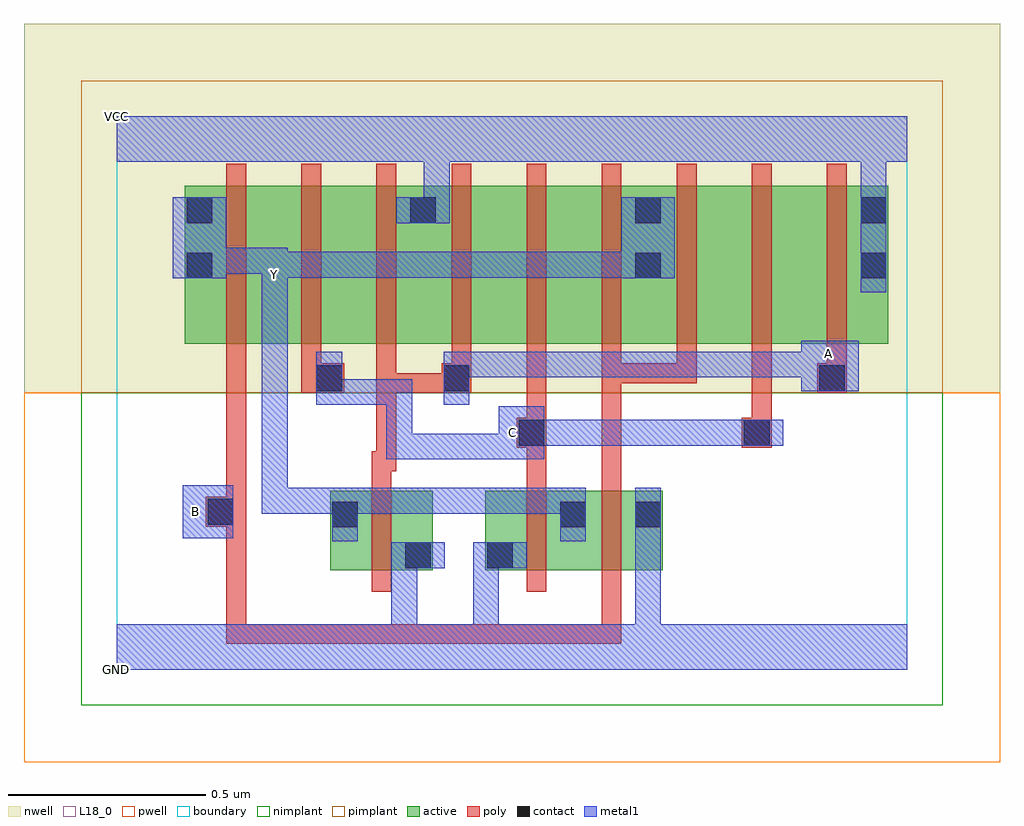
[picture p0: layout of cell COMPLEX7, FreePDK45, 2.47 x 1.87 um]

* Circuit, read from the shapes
.subckt COMPLEX7 A B C GND VCC Y
M1 GND A Y VSUBS nfet w=0.2u l=0.05u
M2 Y C GND VSUBS nfet w=0.2u l=0.05u
M3 GND B Y VSUBS nfet w=0.2u l=0.05u
M4 n1 B Y n2 pfet w=0.4u l=0.05u
M5 n3 C n1 n2 pfet w=0.4u l=0.05u
M6 VCC A n3 n2 pfet w=0.4u l=0.05u
M7 n4 A VCC n2 pfet w=0.4u l=0.05u
M8 n5 C n4 n2 pfet w=0.4u l=0.05u
M9 Y B n5 n2 pfet w=0.4u l=0.05u
M10 n6 B Y n2 pfet w=0.4u l=0.05u
M11 n7 C n6 n2 pfet w=0.4u l=0.05u
M12 VCC A n7 n2 pfet w=0.4u l=0.05u
.ends

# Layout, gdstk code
import gdstk
lib = gdstk.Library(unit=1e-6, precision=1e-09)
def R(c, l, rs):  # rectangles x0, y0, x1, y1
    for r in rs: c.add(gdstk.rectangle(r[:2], r[2:], *l))
def A(c, l, x, y, w, h, nx, ny, dx, dy):  # array of equal rectangles
    R(c, l, [(x+i*dx, y+j*dy, x+i*dx+w, y+j*dy+h) for i in range(nx) for j in range(ny)])
active = (1, 0)
pwell = (2, 0)
nwell = (3, 0)
nimplant = (4, 0)
pimplant = (5, 0)
poly = (9, 0)
contact = (10, 0)
metal1 = (11, 0)
L18_0 = (18, 0)
boundary = (235, 0)

complex7 = lib.new_cell('COMPLEX7')
A(complex7, active, 0.397, 0.825, 0.19, 0.4, 3, 1, 0.57, 0)
A(complex7, active, 0.587, 0.825, 0.225, 0.4, 3, 1, 0.57, 0)
R(complex7, active, [(0.54,0.252,0.8,0.452), (0.54,0.252,0.615,0.452), (0.725,0.252,0.8,0.452), (0.932,0.252,1.192,0.452), (0.932,0.252,1.007,0.417), (1.117,0.252,1.382,0.452), (1.117,0.252,1.192,0.43), (1.307,0.355,1.382,0.452), (0.172,0.825,0.397,1.225), (0.172,0.825,0.247,1.2), (0.737,0.825,0.967,1.225), (1.307,0.825,1.537,1.225), (1.877,0.825,1.952,1.225), (0.737,0.907,0.812,1.225), (1.307,0.907,1.382,1.2)])
R(complex7, pwell, [(-0.235,-0.235,2.235,0.7)])
R(complex7, nwell, [(-0.235,0.7,2.235,1.635)])
R(complex7, nimplant, [(-0.09,-0.09,2.09,0.7)])
R(complex7, pimplant, [(-0.09,0.7,2.09,1.49)])
A(complex7, poly, 0.467, 0.725, 0.05, 0.095, 3, 1, 0.38, 0)
A(complex7, poly, 0.277, 0.77, 0.05, 0.51, 9, 1, 0.19, 0)
R(complex7, poly, [(0.277,0.065,0.327,0.115), (0.277,0.065,0.327,0.115), (0.277,0.065,0.327,0.115), (0.277,0.065,0.327,0.115), (0.277,0.065,0.327,0.115), (0.277,0.065,0.327,0.115), (0.277,0.065,0.327,0.115), (0.277,0.065,0.327,0.115), (0.277,0.065,0.327,0.115), (0.277,0.065,0.46,0.115), (0.277,0.065,0.327,0.412), (0.41,0.065,0.46,0.115), (0.41,0.065,0.46,0.115), (0.41,0.065,0.46,0.115), (0.41,0.065,0.74,0.115), (0.69,0.065,0.74,0.115), (0.69,0.065,0.74,0.115), (0.69,0.065,0.74,0.115), (0.69,0.065,0.93,0.115), (0.88,0.065,0.93,0.115), (0.88,0.065,0.93,0.115), (0.88,0.065,0.93,0.115), (0.88,0.065,1.145,0.115), (1.095,0.065,1.145,0.115), (1.095,0.065,1.277,0.115), (1.227,0.065,1.277,0.115), (1.227,0.065,1.277,0.115), (1.227,0.065,1.277,0.115), (1.227,0.065,1.277,0.247), (0.645,0.197,0.695,0.507), (1.037,0.197,1.087,0.507), (1.227,0.197,1.277,0.507), (0.225,0.362,0.327,0.437), (0.277,0.387,0.327,0.82), (0.645,0.457,0.695,0.552), (1.037,0.457,1.087,0.612), (1.227,0.457,1.277,0.775), (0.645,0.502,0.707,0.552), (0.657,0.502,0.707,0.75), (1.012,0.562,1.087,0.637), (1.582,0.562,1.657,0.637), (1.037,0.587,1.087,0.82), (1.037,0.587,1.087,0.637), (1.037,0.587,1.087,0.637), (1.607,0.587,1.657,0.82), (1.607,0.587,1.657,0.637), (1.607,0.587,1.657,0.637), (0.467,0.7,0.575,0.775), (0.657,0.7,0.707,0.75), (0.657,0.7,0.707,0.75), (0.657,0.7,0.707,0.75), (0.657,0.7,0.872,0.75), (0.657,0.7,0.707,0.82), (0.822,0.7,0.897,0.775), (1.772,0.7,1.847,0.775), (1.227,0.725,1.277,0.775), (1.227,0.725,1.277,0.775), (1.227,0.725,1.277,0.775), (1.227,0.725,1.467,0.775), (1.417,0.725,1.467,0.82), (1.417,0.725,1.467,0.775), (1.417,0.725,1.467,0.775), (1.417,0.725,1.467,0.775), (1.797,0.725,1.847,0.82)])
A(complex7, contact, 0.742, 1.13, 0.065, 0.065, 3, 1, 0.57, 0)
R(complex7, contact, [(0.73,0.257,0.795,0.322), (0.937,0.257,1.002,0.322), (0.545,0.36,0.61,0.425), (1.122,0.36,1.187,0.425), (1.312,0.36,1.377,0.425), (0.23,0.367,0.295,0.432), (1.017,0.567,1.082,0.632), (1.587,0.567,1.652,0.632), (0.505,0.705,0.57,0.77), (0.827,0.705,0.892,0.77), (1.777,0.705,1.842,0.77), (0.177,0.99,0.242,1.055), (1.312,0.99,1.377,1.055), (1.882,0.99,1.947,1.055), (0.177,1.13,0.242,1.195)])
R(complex7, metal1, [(0,0,2,0.115), (0.695,0.05,0.76,0.322), (0.902,0.05,0.967,0.115), (0.902,0.05,0.967,0.115), (0.902,0.05,0.967,0.115), (0.902,0.05,0.967,0.115), (0.902,0.05,0.967,0.322), (1.312,0.05,1.377,0.39), (0.695,0.257,0.76,0.322), (0.695,0.257,0.76,0.322), (0.695,0.257,0.76,0.322), (0.695,0.257,0.76,0.322), (0.695,0.257,0.83,0.322), (0.902,0.257,1.037,0.322), (0.545,0.325,0.61,0.46), (1.122,0.325,1.187,0.46), (1.312,0.325,1.377,0.39), (1.312,0.325,1.377,0.39), (1.312,0.325,1.377,0.39), (1.312,0.325,1.377,0.39), (1.312,0.325,1.377,0.46), (0.167,0.332,0.295,0.467), (0.367,0.395,0.432,0.46), (0.367,0.395,0.432,0.46), (0.367,0.395,0.432,0.46), (0.367,0.395,0.61,0.46), (0.367,0.395,0.432,0.997), (0.545,0.395,0.61,0.46), (0.545,0.395,0.61,0.46), (0.545,0.395,0.747,0.46), (0.682,0.395,0.747,0.46), (0.682,0.395,0.747,0.46), (0.682,0.395,0.747,0.46), (0.682,0.395,0.895,0.46), (0.83,0.395,0.895,0.46), (0.83,0.395,0.895,0.46), (0.83,0.395,0.895,0.46), (0.83,0.395,1.187,0.46), (1.122,0.395,1.187,0.46), (1.122,0.395,1.187,0.46), (0.682,0.532,0.747,0.597), (0.682,0.532,0.895,0.597), (0.682,0.532,0.747,0.735), (0.83,0.532,0.895,0.597), (0.83,0.532,0.895,0.597), (0.83,0.532,0.895,0.597), (0.83,0.532,1.032,0.597), (0.967,0.532,1.082,0.667), (1.017,0.567,1.082,0.632), (1.017,0.567,1.082,0.632), (1.017,0.567,1.342,0.632), (1.277,0.567,1.342,0.632), (1.277,0.567,1.342,0.632), (1.277,0.567,1.342,0.632), (1.277,0.567,1.48,0.632), (1.415,0.567,1.48,0.632), (1.415,0.567,1.48,0.632), (1.415,0.567,1.48,0.632), (1.415,0.567,1.617,0.632), (1.552,0.567,1.687,0.632), (0.505,0.67,0.57,0.735), (0.505,0.67,0.57,0.735), (0.505,0.67,0.57,0.805), (0.505,0.67,0.747,0.735), (0.682,0.67,0.747,0.735), (0.682,0.67,0.747,0.735), (0.682,0.67,0.747,0.735), (0.827,0.67,0.892,0.805), (1.732,0.705,1.877,0.832), (0.827,0.74,0.892,0.805), (0.827,0.74,0.892,0.805), (0.827,0.74,1.205,0.805), (1.14,0.74,1.205,0.805), (1.14,0.74,1.205,0.805), (1.14,0.74,1.205,0.805), (1.14,0.74,1.342,0.805), (1.277,0.74,1.342,0.805), (1.277,0.74,1.342,0.805), (1.277,0.74,1.342,0.805), (1.277,0.74,1.48,0.805), (1.415,0.74,1.48,0.805), (1.415,0.74,1.66,0.805), (1.595,0.74,1.66,0.805), (1.595,0.74,1.66,0.805), (1.595,0.74,1.66,0.805), (1.595,0.74,1.797,0.805), (1.732,0.74,1.797,0.805), (1.732,0.74,1.797,0.805), (0.367,0.932,0.432,1.067), (1.882,0.955,1.947,1.23), (0.142,0.99,0.277,1.195), (1.277,0.99,1.412,1.195), (0.367,0.992,0.432,1.057), (0.367,0.992,0.57,1.057), (0.367,0.992,0.432,1.067), (0.505,0.992,0.57,1.057), (0.505,0.992,0.57,1.057), (0.505,0.992,0.57,1.057), (0.505,0.992,0.755,1.057), (0.69,0.992,0.755,1.057), (0.69,0.992,0.755,1.057), (0.69,0.992,0.755,1.057), (0.69,0.992,0.895,1.057), (0.83,0.992,0.895,1.057), (0.83,0.992,0.895,1.057), (0.83,0.992,0.895,1.057), (0.83,0.992,1.032,1.057), (0.967,0.992,1.032,1.057), (0.967,0.992,1.032,1.057), (0.967,0.992,1.032,1.057), (0.967,0.992,1.342,1.057), (1.277,0.992,1.342,1.057), (1.277,0.992,1.342,1.057), (0.212,1.002,0.277,1.067), (0.212,1.002,0.277,1.067), (0.212,1.002,0.432,1.067), (0.707,1.13,0.842,1.195), (0.777,1.13,0.842,1.35), (1.882,1.165,1.947,1.35), (0,1.285,2,1.4)])
R(complex7, L18_0, [(0,0,2,0.115), (0.695,0.05,0.76,0.322), (0.902,0.05,0.967,0.115), (0.902,0.05,0.967,0.115), (0.902,0.05,0.967,0.115), (0.902,0.05,0.967,0.115), (0.902,0.05,0.967,0.322), (1.312,0.05,1.377,0.39), (0.695,0.257,0.76,0.322), (0.695,0.257,0.76,0.322), (0.695,0.257,0.76,0.322), (0.695,0.257,0.76,0.322), (0.695,0.257,0.83,0.322), (0.902,0.257,1.037,0.322), (0.545,0.325,0.61,0.46), (1.122,0.325,1.187,0.46), (1.312,0.325,1.377,0.39), (1.312,0.325,1.377,0.39), (1.312,0.325,1.377,0.39), (1.312,0.325,1.377,0.39), (1.312,0.325,1.377,0.46), (0.167,0.332,0.295,0.467), (0.167,0.367,0.232,0.432), (0.367,0.395,0.432,0.46), (0.367,0.395,0.432,0.46), (0.367,0.395,0.432,0.46), (0.367,0.395,0.432,0.997), (0.367,0.395,0.61,0.46), (0.545,0.395,0.61,0.46), (0.545,0.395,0.61,0.46), (0.545,0.395,0.747,0.46), (0.682,0.395,0.747,0.46), (0.682,0.395,0.747,0.46), (0.682,0.395,0.747,0.46), (0.682,0.395,0.895,0.46), (0.83,0.395,0.895,0.46), (0.83,0.395,0.895,0.46), (0.83,0.395,0.895,0.46), (0.83,0.395,1.187,0.46), (1.122,0.395,1.187,0.46), (1.122,0.395,1.187,0.46), (0.682,0.532,0.747,0.597), (0.682,0.532,0.747,0.735), (0.682,0.532,0.895,0.597), (0.83,0.532,0.895,0.597), (0.83,0.532,0.895,0.597), (0.83,0.532,0.895,0.597), (0.83,0.532,1.032,0.597), (0.967,0.532,1.082,0.667), (0.967,0.567,1.032,0.632), (1.017,0.567,1.082,0.632), (1.017,0.567,1.082,0.632), (1.017,0.567,1.342,0.632), (1.277,0.567,1.342,0.632), (1.277,0.567,1.342,0.632), (1.277,0.567,1.342,0.632), (1.277,0.567,1.48,0.632), (1.415,0.567,1.48,0.632), (1.415,0.567,1.48,0.632), (1.415,0.567,1.48,0.632), (1.415,0.567,1.617,0.632), (1.552,0.567,1.687,0.632), (0.505,0.67,0.57,0.735), (0.505,0.67,0.57,0.735), (0.505,0.67,0.57,0.805), (0.505,0.67,0.747,0.735), (0.682,0.67,0.747,0.735), (0.682,0.67,0.747,0.735), (0.682,0.67,0.747,0.735), (0.827,0.67,0.892,0.805), (1.732,0.705,1.877,0.832), (0.827,0.74,0.892,0.805), (0.827,0.74,0.892,0.805), (0.827,0.74,1.205,0.805), (1.14,0.74,1.205,0.805), (1.14,0.74,1.205,0.805), (1.14,0.74,1.205,0.805), (1.14,0.74,1.342,0.805), (1.277,0.74,1.342,0.805), (1.277,0.74,1.342,0.805), (1.277,0.74,1.342,0.805), (1.277,0.74,1.48,0.805), (1.415,0.74,1.48,0.805), (1.415,0.74,1.66,0.805), (1.595,0.74,1.66,0.805), (1.595,0.74,1.66,0.805), (1.595,0.74,1.66,0.805), (1.595,0.74,1.797,0.805), (1.732,0.74,1.797,0.805), (1.732,0.74,1.797,0.805), (1.767,0.767,1.832,0.832), (0.367,0.932,0.432,1.067), (1.882,0.955,1.947,1.23), (0.367,0.967,0.432,1.032), (0.142,0.99,0.277,1.195), (1.277,0.99,1.412,1.195), (0.367,0.992,0.432,1.057), (0.367,0.992,0.432,1.067), (0.367,0.992,0.57,1.057), (0.505,0.992,0.57,1.057), (0.505,0.992,0.57,1.057), (0.505,0.992,0.57,1.057), (0.505,0.992,0.755,1.057), (0.69,0.992,0.755,1.057), (0.69,0.992,0.755,1.057), (0.69,0.992,0.755,1.057), (0.69,0.992,0.895,1.057), (0.83,0.992,0.895,1.057), (0.83,0.992,0.895,1.057), (0.83,0.992,0.895,1.057), (0.83,0.992,1.032,1.057), (0.967,0.992,1.032,1.057), (0.967,0.992,1.032,1.057), (0.967,0.992,1.032,1.057), (0.967,0.992,1.342,1.057), (1.277,0.992,1.342,1.057), (1.277,0.992,1.342,1.057), (0.212,1.002,0.277,1.067), (0.212,1.002,0.277,1.067), (0.212,1.002,0.432,1.067), (0.707,1.13,0.842,1.195), (0.777,1.13,0.842,1.35), (1.882,1.165,1.947,1.35), (0,1.285,2,1.4)])
R(complex7, boundary, [(0,0,2,1.4)])
complex7.add(gdstk.Label('A', (1.8,0.8), layer=11, texttype=0))
complex7.add(gdstk.Label('B', (0.2,0.4), layer=11, texttype=0))
complex7.add(gdstk.Label('C', (1,0.6), layer=11, texttype=0))
complex7.add(gdstk.Label('Y', (0.4,1), layer=11, texttype=0))
complex7.add(gdstk.Label('VCC', (0,1.4), layer=11, texttype=0))
complex7.add(gdstk.Label('GND', (0,0), layer=11, texttype=0))

lib.write_gds('COMPLEX7.gds')
